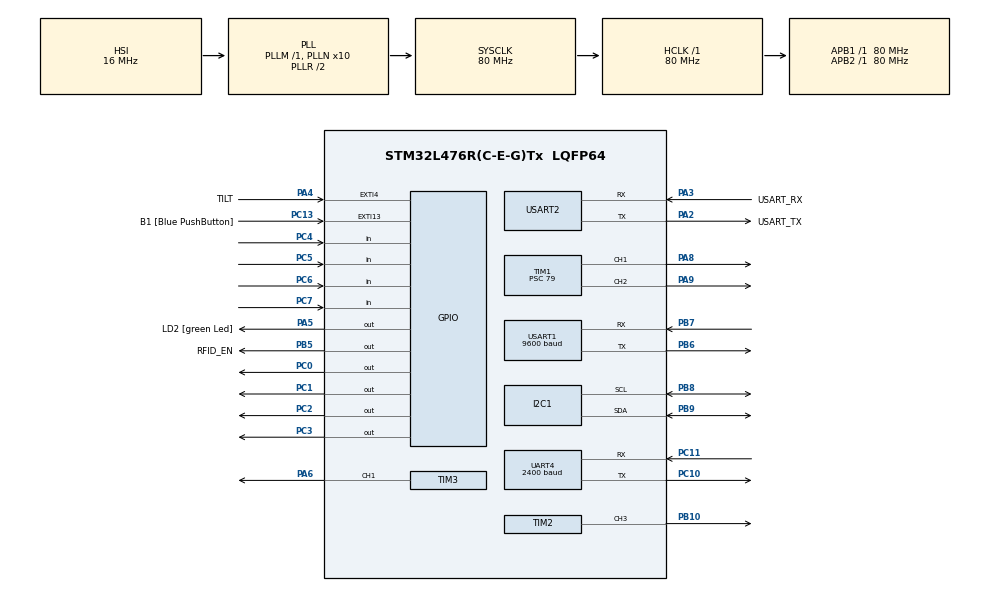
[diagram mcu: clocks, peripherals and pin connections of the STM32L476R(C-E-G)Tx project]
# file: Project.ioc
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FREERTOS.BinarySemaphores01=rfidSemaphore,Dynamic,NULL,Depleted
FREERTOS.Mutexes01=lcdMutex,Dynamic,NULL,Available
FREERTOS.Queues01=doorQueue,10,uint8_t,0,Dynamic,NULL,NULL;wifiQueue,10,uint8_t,0,Dynamic,NULL,NULL
FREERTOS.Tasks01=keypadTask,24,512,StartKeypadTask,Default,NULL,Dynamic,NULL,NULL;rfidTask,24,512,StartRfidTask,Default,NULL,Dynamic,NULL,NULL;doorTask,24,512,StartDoorTask,Default,NULL,Dynamic,NULL,NULL;wifiTask,24,512,StartWifiTask,Default,NULL,Dynamic,NULL,NULL
FREERTOS.configTOTAL_HEAP_SIZE=16000
I2C1.Timing=0x10D19CE4
Mcu.Family=STM32L4
Mcu.Name=STM32L476R(C-E-G)Tx
Mcu.Package=LQFP64
NVIC.EXTI4_IRQn=true\:5\:0\:false\:false\:true\:true\:true\:true\:true
NVIC.PriorityGroup=NVIC_PRIORITYGROUP_4
NVIC.TIM6_DAC_IRQn=true\:15\:0\:false\:false\:true\:false\:false\:true\:true
NVIC.TimeBase=TIM6_DAC_IRQn
NVIC.TimeBaseIP=TIM6
NVIC.UART4_IRQn=true\:5\:0\:false\:false\:true\:true\:true\:true\:true
PA13\ (JTMS-SWDIO).GPIO_Label=TMS
PA13\ (JTMS-SWDIO).Mode=Serial_Wire
PA13\ (JTMS-SWDIO).Signal=SYS_JTMS-SWDIO
PA14\ (JTCK-SWCLK).GPIO_Label=TCK
PA14\ (JTCK-SWCLK).Mode=Serial_Wire
PA14\ (JTCK-SWCLK).Signal=SYS_JTCK-SWCLK
PA2.GPIO_Label=USART_TX
PA2.GPIO_Mode=GPIO_MODE_AF_PP
PA2.GPIO_PuPd=GPIO_NOPULL
PA2.GPIO_Speed=GPIO_SPEED_FREQ_VERY_HIGH
PA2.Mode=Asynchronous
PA2.Signal=USART2_TX
PA3.GPIO_Label=USART_RX
PA3.GPIO_Mode=GPIO_MODE_AF_PP
PA3.GPIO_PuPd=GPIO_NOPULL
PA3.GPIO_Speed=GPIO_SPEED_FREQ_VERY_HIGH
PA3.Mode=Asynchronous
PA3.Signal=USART2_RX
PA4.GPIO_Label=TILT
PA4.GPIO_ModeDefaultEXTI=GPIO_MODE_IT_RISING_FALLING
PA4.GPIO_PuPd=GPIO_PULLUP
PA4.Signal=GPXTI4
PA5.GPIO_Label=LD2 [green Led]
PA5.GPIO_ModeDefaultOutputPP=GPIO_MODE_OUTPUT_PP
PA5.GPIO_PuPd=GPIO_NOPULL
PA5.GPIO_Speed=GPIO_SPEED_FREQ_LOW
PA5.Signal=GPIO_Output
PA6.Signal=S_TIM3_CH1
PA8.Signal=S_TIM1_CH1
PA9.Signal=S_TIM1_CH2
PB10.Signal=S_TIM2_CH3
PB3\ (JTDO-TRACESWO).GPIO_Label=SWO
PB3\ (JTDO-TRACESWO).Signal=SYS_JTDO-SWO
PB5.GPIO_Label=RFID_EN
PB5.Signal=GPIO_Output
PB6.Mode=Asynchronous
PB6.Signal=USART1_TX
PB7.Mode=Asynchronous
PB7.Signal=USART1_RX
PB8.GPIO_Pu=GPIO_PULLUP
PB8.Mode=I2C
PB8.Signal=I2C1_SCL
PB9.GPIO_Pu=GPIO_PULLUP
PB9.Mode=I2C
PB9.Signal=I2C1_SDA
PC0.Signal=GPIO_Output
PC1.Signal=GPIO_Output
PC10.Mode=Asynchronous
PC10.Signal=UART4_TX
PC11.Mode=Asynchronous
PC11.Signal=UART4_RX
PC13.GPIO_Label=B1 [Blue PushButton]
PC13.GPIO_ModeDefaultEXTI=GPIO_MODE_IT_FALLING
PC13.GPIO_PuPd=GPIO_NOPULL
PC13.Signal=GPXTI13
PC14-OSC32_IN\ (PC14).Mode=LSE-External-Oscillator
PC14-OSC32_IN\ (PC14).Signal=RCC_OSC32_IN
PC15-OSC32_OUT\ (PC15).Mode=LSE-External-Oscillator
PC15-OSC32_OUT\ (PC15).Signal=RCC_OSC32_OUT
PC2.Signal=GPIO_Output
PC3.Signal=GPIO_Output
PC4.GPIO_PuPd=GPIO_PULLDOWN
PC4.Signal=GPIO_Input
PC5.GPIO_PuPd=GPIO_PULLDOWN
PC5.Signal=GPIO_Input
PC6.GPIO_PuPd=GPIO_PULLDOWN
PC6.Signal=GPIO_Input
PC7.GPIO_PuPd=GPIO_PULLDOWN
PC7.Signal=GPIO_Input
PH0-OSC_IN\ (PH0).Signal=RCC_OSC_IN
PH1-OSC_OUT\ (PH1).Signal=RCC_OSC_OUT
ProjectManager.HeapSize=0x200
ProjectManager.StackSize=0x400
ProjectManager.TargetToolchain=STM32CubeIDE
RCC.ADCFreq_Value=64000000
RCC.AHBFreq_Value=80000000
RCC.APB1Freq_Value=80000000
RCC.APB1TimFreq_Value=80000000
RCC.APB2Freq_Value=80000000
RCC.APB2TimFreq_Value=80000000
RCC.CortexFreq_Value=80000000
RCC.HCLKFreq_Value=80000000
RCC.HSE_VALUE=8000000
RCC.HSI_VALUE=16000000
RCC.MSI_VALUE=4000000
RCC.PLLN=10
RCC.PLLSourceVirtual=RCC_PLLSOURCE_HSI
RCC.PREFETCH_ENABLE=1
RCC.SYSCLKFreq_VALUE=80000000
RCC.SYSCLKSource=RCC_SYSCLKSOURCE_PLLCLK
RCC.USBFreq_Value=64000000
RCC.VCOOutputFreq_Value=160000000
SH.S_TIM1_CH1.0=TIM1_CH1,PWM Generation1 CH1
SH.S_TIM1_CH2.0=TIM1_CH2,PWM Generation2 CH2
SH.S_TIM2_CH3.0=TIM2_CH3,PWM Generation3 CH3
SH.S_TIM3_CH1.0=TIM3_CH1,PWM Generation1 CH1
TIM1.Channel-PWM\ Generation1\ CH1=TIM_CHANNEL_1
TIM1.Channel-PWM\ Generation2\ CH2=TIM_CHANNEL_2
TIM1.Period=999
TIM1.Prescaler=79
TIM2.Channel-PWM\ Generation3\ CH3=TIM_CHANNEL_3
TIM2.Period=999
TIM2.Prescaler=79
TIM3.Channel-PWM\ Generation1\ CH1=TIM_CHANNEL_1
TIM3.Period=19999
TIM3.Prescaler=79
TIM3.Pulse-PWM\ Generation1\ CH1=1500
UART4.BaudRate=2400
UART4.VirtualMode-Asynchronous=VM_ASYNC
USART1.BaudRate=9600
USART1.VirtualMode-Asynchronous=VM_ASYNC
USART2.VirtualMode-Asynchronous=VM_ASYNC
VP_FREERTOS_VS_CMSIS_V2.Mode=CMSIS_V2
VP_SYS_VS_tim6.Mode=TIM6
board=NUCLEO-L476RG

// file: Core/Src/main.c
/* USER CODE BEGIN Header */
/**
  ******************************************************************************
  * @file           : main.c
  * @brief          : Main program body
  ******************************************************************************
  * @attention
  *
  * Copyright (c) 2026 STMicroelectronics.
  * All rights reserved.
  *
  * This software is licensed under terms that can be found in the LICENSE file
  * in the root directory of this software component.
  * If no LICENSE file comes with this software, it is provided AS-IS.
  *
  ******************************************************************************
  */
/* USER CODE END Header */
#include "main.h"
#include "cmsis_os.h"
#include "i2c.h"
#include "tim.h"
#include "usart.h"
#include "gpio.h"

void SystemClock_Config(void);
void MX_FREERTOS_Init(void);

int main(void)
{

  /* MCU Configuration--------------------------------------------------------*/

  /* Reset of all peripherals, Initializes the Flash interface and the Systick. */
  HAL_Init();

  /* Configure the system clock */
  SystemClock_Config();

  /* Initialize all configured peripherals */
  MX_GPIO_Init();
  MX_USART2_UART_Init();
  MX_I2C1_Init();
  MX_TIM1_Init();
  MX_TIM2_Init();
  MX_TIM3_Init();
  MX_USART1_UART_Init();
  MX_UART4_Init();

  /* Init scheduler */
  osKernelInitialize();  /* Call init function for freertos objects (in cmsis_os2.c) */
  MX_FREERTOS_Init();

  /* Start scheduler */
  osKernelStart();

  /* We should never get here as control is now taken by the scheduler */

  /* Infinite loop */
  while (1)
  {

  }
}

void SystemClock_Config(void)
{
  RCC_OscInitTypeDef RCC_OscInitStruct = {0};
  RCC_ClkInitTypeDef RCC_ClkInitStruct = {0};

  /** Configure the main internal regulator output voltage
  */
  if (HAL_PWREx_ControlVoltageScaling(PWR_REGULATOR_VOLTAGE_SCALE1) != HAL_OK)
  {
    Error_Handler();
  }

  /** Initializes the RCC Oscillators according to the specified parameters
  * in the RCC_OscInitTypeDef structure.
  */
  RCC_OscInitStruct.OscillatorType = RCC_OSCILLATORTYPE_HSI;
  RCC_OscInitStruct.HSIState = RCC_HSI_ON;
  RCC_OscInitStruct.HSICalibrationValue = RCC_HSICALIBRATION_DEFAULT;
  RCC_OscInitStruct.PLL.PLLState = RCC_PLL_ON;
  RCC_OscInitStruct.PLL.PLLSource = RCC_PLLSOURCE_HSI;
  RCC_OscInitStruct.PLL.PLLM = 1;
  RCC_OscInitStruct.PLL.PLLN = 10;
  RCC_OscInitStruct.PLL.PLLP = RCC_PLLP_DIV7;
  RCC_OscInitStruct.PLL.PLLQ = RCC_PLLQ_DIV2;
  RCC_OscInitStruct.PLL.PLLR = RCC_PLLR_DIV2;
  if (HAL_RCC_OscConfig(&RCC_OscInitStruct) != HAL_OK)
  {
    Error_Handler();
  }

  /** Initializes the CPU, AHB and APB buses clocks
  */
  RCC_ClkInitStruct.ClockType = RCC_CLOCKTYPE_HCLK|RCC_CLOCKTYPE_SYSCLK
                              |RCC_CLOCKTYPE_PCLK1|RCC_CLOCKTYPE_PCLK2;
  RCC_ClkInitStruct.SYSCLKSource = RCC_SYSCLKSOURCE_PLLCLK;
  RCC_ClkInitStruct.AHBCLKDivider = RCC_SYSCLK_DIV1;
  RCC_ClkInitStruct.APB1CLKDivider = RCC_HCLK_DIV1;
  RCC_ClkInitStruct.APB2CLKDivider = RCC_HCLK_DIV1;

  if (HAL_RCC_ClockConfig(&RCC_ClkInitStruct, FLASH_LATENCY_4) != HAL_OK)
  {
    Error_Handler();
  }
}

void HAL_TIM_PeriodElapsedCallback(TIM_HandleTypeDef *htim)
{
  if (htim->Instance == TIM6)
  {
    HAL_IncTick();
  }
}

void Error_Handler(void)
{
  __disable_irq();
  while (1)
  {
  }
}

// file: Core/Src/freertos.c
/* USER CODE BEGIN Header */
/**
  ******************************************************************************
  * File Name          : freertos.c
  * Description        : Code for freertos applications
  ******************************************************************************
  * @attention
  *
  * Copyright (c) 2026 STMicroelectronics.
  * All rights reserved.
  *
  * This software is licensed under terms that can be found in the LICENSE file
  * in the root directory of this software component.
  * If no LICENSE file comes with this software, it is provided AS-IS.
  *
  ******************************************************************************
  */
/* USER CODE END Header */

#include "FreeRTOS.h"
#include "task.h"
#include "main.h"
#include "cmsis_os.h"

/* USER CODE BEGIN Includes */
#include <stdio.h>
#include <string.h>
#include "tim.h"
#include "usart.h"
#include "gpio.h"
#include "keypad.h"     // Lab 3 keypad library
#include "lcd_i2c.h"    // Lab 3 LCD library
/* USER CODE END Includes */

/* USER CODE BEGIN PD */
/* ---------- Settings we can change ---------- */
#define CORRECT_PIN    "0000"          // 4-digit PIN that opens the door
#define ALLOWED_CARD   "2600D3A790"    // ID of our RFID card (the other card, 290093F110, is the "wrong card")

#define SERVO_CLOSED   1000            // servo pulse (microseconds) when the door is locked
#define SERVO_OPEN     2000            // servo pulse (microseconds) when the door is open
#define DOOR_OPEN_MS   5000            // the door stays open for 5 seconds
#define TILT_WAIT_MS   3000            // ignore the tilt switch for 3 seconds after an alert

/* ---------- Events sent through the queues ---------- */
#define EVT_PIN_OK     1               // correct PIN typed
#define EVT_PIN_FAIL   2               // wrong PIN typed
#define EVT_CARD_OK    3               // allowed card tapped
#define EVT_CARD_FAIL  4               // unknown card tapped
#define EVT_TAMPER     5               // door moved while it was locked
#define EVT_LOCKED     6               // door locked again (Wi-Fi message only)
/* USER CODE END PD */

/* USER CODE BEGIN Variables */
/* PIN typed on the keypad (Lab 3) */
char attempt[5];                       // 4 digits + '\0'
uint8_t pin_index = 0;                 // number of digits typed so far

/* RFID reader: it sends 0x0A, then 10 ID characters, then 0x0D */
uint8_t rfid_byte;                     // last byte received from the reader
char rfid_id[11];                      // card ID (10 characters + '\0')
uint8_t rfid_index = 0;                // number of ID characters received so far

/* Tilt (ball) switch */
volatile uint8_t door_open = 0;        // 1 while the door is open (tilt is not a tamper then)
volatile uint32_t last_tilt = 0;       // time of the last tamper alert
/* USER CODE END Variables */
/* Definitions for keypadTask */
osThreadId_t keypadTaskHandle;
const osThreadAttr_t keypadTask_attributes = {
  .name = "keypadTask",
  .stack_size = 512 * 4,
  .priority = (osPriority_t) osPriorityNormal,
};
/* Definitions for rfidTask */
osThreadId_t rfidTaskHandle;
const osThreadAttr_t rfidTask_attributes = {
  .name = "rfidTask",
  .stack_size = 512 * 4,
  .priority = (osPriority_t) osPriorityNormal,
};
/* Definitions for doorTask */
osThreadId_t doorTaskHandle;
const osThreadAttr_t doorTask_attributes = {
  .name = "doorTask",
  .stack_size = 512 * 4,
  .priority = (osPriority_t) osPriorityNormal,
};
/* Definitions for wifiTask */
osThreadId_t wifiTaskHandle;
const osThreadAttr_t wifiTask_attributes = {
  .name = "wifiTask",
  .stack_size = 512 * 4,
  .priority = (osPriority_t) osPriorityNormal,
};
/* Definitions for doorQueue */
osMessageQueueId_t doorQueueHandle;
const osMessageQueueAttr_t doorQueue_attributes = {
  .name = "doorQueue"
};
/* Definitions for wifiQueue */
osMessageQueueId_t wifiQueueHandle;
const osMessageQueueAttr_t wifiQueue_attributes = {
  .name = "wifiQueue"
};
/* Definitions for lcdMutex */
osMutexId_t lcdMutexHandle;
const osMutexAttr_t lcdMutex_attributes = {
  .name = "lcdMutex"
};
/* Definitions for rfidSemaphore */
osSemaphoreId_t rfidSemaphoreHandle;
const osSemaphoreAttr_t rfidSemaphore_attributes = {
  .name = "rfidSemaphore"
};

/* USER CODE BEGIN FunctionPrototypes */
void play_tone(uint32_t freq, uint32_t duration_ms);
void SetColor(uint8_t red, uint8_t green);
void Servo_WritePulseUS(uint16_t pulse_us);
void LCD_ShowMessage(char *line1, char *line2);
/* USER CODE END FunctionPrototypes */

void StartKeypadTask(void *argument);
void StartRfidTask(void *argument);
void StartDoorTask(void *argument);
void StartWifiTask(void *argument);

void MX_FREERTOS_Init(void); /* (MISRA C 2004 rule 8.1) */

void MX_FREERTOS_Init(void) {
  /* USER CODE BEGIN Init */
  /* This runs once, before the tasks start */

  /* Start the PWM outputs (Lab 4 and Lab 7) */
  HAL_TIM_PWM_Start(&htim1, TIM_CHANNEL_1);   // RGB LED red   (PA8)
  HAL_TIM_PWM_Start(&htim1, TIM_CHANNEL_2);   // RGB LED green (PA9)
  HAL_TIM_PWM_Start(&htim2, TIM_CHANNEL_3);   // passive buzzer (PB10), silent for now
  HAL_TIM_PWM_Start(&htim3, TIM_CHANNEL_1);   // servo (PA6)

  SetColor(0, 0);                             // LED off
  Servo_WritePulseUS(SERVO_CLOSED);           // door starts locked

  /* LCD and keypad (Lab 3) */
  LCD_Init();
  LCD_ShowMessage("ENTER PIN / CARD", "");
  Keypad_Init();
  /* USER CODE END Init */
  /* Create the mutex(es) */
  /* creation of lcdMutex */
  lcdMutexHandle = osMutexNew(&lcdMutex_attributes);

  /* Create the semaphores(s) */
  /* creation of rfidSemaphore */
  rfidSemaphoreHandle = osSemaphoreNew(1, 0, &rfidSemaphore_attributes);

  /* Create the queue(s) */
  /* creation of doorQueue */
  doorQueueHandle = osMessageQueueNew (10, sizeof(uint8_t), &doorQueue_attributes);

  /* creation of wifiQueue */
  wifiQueueHandle = osMessageQueueNew (10, sizeof(uint8_t), &wifiQueue_attributes);

  /* Create the thread(s) */
  /* creation of keypadTask */
  keypadTaskHandle = osThreadNew(StartKeypadTask, NULL, &keypadTask_attributes);

  /* creation of rfidTask */
  rfidTaskHandle = osThreadNew(StartRfidTask, NULL, &rfidTask_attributes);

  /* creation of doorTask */
  doorTaskHandle = osThreadNew(StartDoorTask, NULL, &doorTask_attributes);

  /* creation of wifiTask */
  wifiTaskHandle = osThreadNew(StartWifiTask, NULL, &wifiTask_attributes);

}

void StartKeypadTask(void *argument)
{
  /* USER CODE BEGIN StartKeypadTask */
  /* keypadTask: reads the keypad and checks the PIN */
  char key;
  uint8_t event;

  for(;;)
  {
    key = Keypad_Scan();                      // Lab 3: returns the key, or 0 if no key

    if (key)
    {
      /* TEST: print every key to Tera Term (Lab 3 Part B echo test).
         Delete these 3 lines when all keys work. */
      char out[16];
      sprintf(out, "Key: %c\r\n", key);
      HAL_UART_Transmit(&huart2, (uint8_t *)out, strlen(out), 100);

      /* wait here if the door task is using the LCD (Lab 7 mutex) */
      osMutexAcquire(lcdMutexHandle, osWaitForever);

      if (key >= '0' && key <= '9')           // a digit was pressed
      {
        attempt[pin_index] = key;             // store the digit
        LCD_SetCursor(1, pin_index);
        LCD_PrintChar('*');                   // show * instead of the digit
        pin_index++;

        if (pin_index == 4)                   // 4 digits typed: check the PIN
        {
          attempt[4] = '\0';

          if (strcmp(attempt, CORRECT_PIN) == 0)
          {
            event = EVT_PIN_OK;
          }
          else
          {
            event = EVT_PIN_FAIL;
          }

          pin_index = 0;
          osMessageQueuePut(doorQueueHandle, &event, 0, 0);   // tell the door task
        }
      }
      else if (key == '#')                    // # clears the typed digits
      {
        pin_index = 0;
        LCD_SetCursor(1, 0);
        LCD_Print("    ");
      }

      osMutexRelease(lcdMutexHandle);
    }

    osDelay(20);                              // check the keypad every 20 ms
  }
  /* USER CODE END StartKeypadTask */
}

void StartRfidTask(void *argument)
{
  /* USER CODE BEGIN StartRfidTask */
  /* rfidTask: checks the card after the UART interrupt received a full ID */
  uint8_t event;

  HAL_GPIO_WritePin(RFID_EN_GPIO_Port, RFID_EN_Pin, GPIO_PIN_RESET);   // EN low = reader on
  HAL_UART_Receive_IT(&huart4, &rfid_byte, 1);                         // start receiving bytes

  for(;;)
  {
    /* sleep here until the interrupt releases the semaphore (Lab 7) */
    if (osSemaphoreAcquire(rfidSemaphoreHandle, osWaitForever) == osOK)
    {
      /* reader off, so the same card is not read again and again */
      HAL_GPIO_WritePin(RFID_EN_GPIO_Port, RFID_EN_Pin, GPIO_PIN_SET);

      if (strcmp(rfid_id, ALLOWED_CARD) == 0)
      {
        event = EVT_CARD_OK;
      }
      else
      {
        event = EVT_CARD_FAIL;
      }

      osMessageQueuePut(doorQueueHandle, &event, 0, 0);   // tell the door task

      osDelay(3000);                                      // wait before reading the next card
      osSemaphoreAcquire(rfidSemaphoreHandle, 0);         // forget a repeated read of the same card
      HAL_GPIO_WritePin(RFID_EN_GPIO_Port, RFID_EN_Pin, GPIO_PIN_RESET);   // reader on again
    }
  }
  /* USER CODE END StartRfidTask */
}

void StartDoorTask(void *argument)
{
  /* USER CODE BEGIN StartDoorTask */
  /* doorTask: controls the LCD, LED, buzzer and servo */
  uint8_t event;
  uint8_t locked = EVT_LOCKED;

  for(;;)
  {
    /* wait here until the keypad task, the RFID task or the tilt interrupt sends an event */
    if (osMessageQueueGet(doorQueueHandle, &event, NULL, osWaitForever) == osOK)
    {
      /* keep the LCD until this event is finished (Lab 7 mutex) */
      osMutexAcquire(lcdMutexHandle, osWaitForever);

      osMessageQueuePut(wifiQueueHandle, &event, 0, 0);   // report the event over Wi-Fi

      if (event == EVT_PIN_OK || event == EVT_CARD_OK)
      {
        /* ----- correct PIN or card: open the door for 5 seconds ----- */
        door_open = 1;
        LCD_ShowMessage("ACCESS GRANTED", "DOOR OPEN");
        SetColor(0, 255);                     // green
        Servo_WritePulseUS(SERVO_OPEN);       // unlock

        play_tone(523, 150);                  // success sound (notes going up)
        play_tone(659, 150);
        play_tone(784, 300);

        osDelay(DOOR_OPEN_MS);                // hold the door open

        Servo_WritePulseUS(SERVO_CLOSED);     // lock again
        SetColor(0, 0);                       // LED off
        LCD_ShowMessage("DOOR LOCKED", "");
        osMessageQueuePut(wifiQueueHandle, &locked, 0, 0);
        osDelay(1000);

        last_tilt = HAL_GetTick();            // give the door time to stop moving
        door_open = 0;
      }
      else if (event == EVT_PIN_FAIL || event == EVT_CARD_FAIL)
      {
        /* ----- wrong PIN or card: the servo does not move ----- */
        LCD_ShowMessage("ACCESS DENIED", "TRY AGAIN");
        SetColor(255, 0);                     // red

        play_tone(300, 250);                  // fail sound (notes going down)
        play_tone(200, 500);

        osDelay(1000);
        SetColor(0, 0);
      }
      else if (event == EVT_TAMPER)
      {
        /* ----- door moved while locked: alarm, the servo does not move ----- */
        LCD_ShowMessage("TAMPER ALERT!", "DOOR IS LOCKED");
        SetColor(255, 0);                     // red

        for (int i = 0; i < 5; i++)           // alarm sound
        {
          play_tone(1000, 200);
          play_tone(700, 200);
        }

        SetColor(0, 0);
      }

      /* back to the start screen */
      pin_index = 0;
      LCD_ShowMessage("ENTER PIN / CARD", "");

      osMutexRelease(lcdMutexHandle);
    }
  }
  /* USER CODE END StartDoorTask */
}

void StartWifiTask(void *argument)
{
  /* USER CODE BEGIN StartWifiTask */
  /* wifiTask: sends one text line per event to the NodeMCU (Lab 8) */
  uint8_t event;
  char msg[50];

  strcpy(msg, "LOCKER READY\r\n");
  HAL_UART_Transmit(&huart1, (uint8_t *)msg, strlen(msg), 200);
  HAL_UART_Transmit(&huart2, (uint8_t *)msg, strlen(msg), 200);

  for(;;)
  {
    /* wait here until the door task sends an event */
    if (osMessageQueueGet(wifiQueueHandle, &event, NULL, osWaitForever) == osOK)
    {
      if (event == EVT_PIN_OK)
      {
        strcpy(msg, "ACCESS GRANTED (PIN)\r\n");
      }
      else if (event == EVT_PIN_FAIL)
      {
        strcpy(msg, "ACCESS DENIED (WRONG PIN)\r\n");
      }
      else if (event == EVT_CARD_OK)
      {
        snprintf(msg, sizeof(msg), "ACCESS GRANTED (CARD %s)\r\n", rfid_id);
      }
      else if (event == EVT_CARD_FAIL)
      {
        snprintf(msg, sizeof(msg), "ACCESS DENIED (CARD %s)\r\n", rfid_id);
      }
      else if (event == EVT_TAMPER)
      {
        strcpy(msg, "TAMPER ALERT: DOOR MOVED\r\n");
      }
      else
      {
        strcpy(msg, "DOOR LOCKED\r\n");
      }

      HAL_UART_Transmit(&huart1, (uint8_t *)msg, strlen(msg), 200);   // USART1 -> NodeMCU -> Wi-Fi
      HAL_UART_Transmit(&huart2, (uint8_t *)msg, strlen(msg), 200);   // USART2 -> Tera Term
    }
  }
  /* USER CODE END StartWifiTask */
}

/* USER CODE BEGIN Application */

/* Lab 4: play one tone on the passive buzzer (TIM2 channel 3, PB10) */
void play_tone(uint32_t freq, uint32_t duration_ms)
{
  uint32_t timer_clk = 1000000;               // 1 MHz based on 79 prescaler
  uint32_t period = timer_clk / freq;

  __HAL_TIM_SET_AUTORELOAD(&htim2, period - 1);
  __HAL_TIM_SET_COUNTER(&htim2, 0);           // restart the count so it is never above the new period
  __HAL_TIM_SET_COMPARE(&htim2, TIM_CHANNEL_3, period / 4);   // 25% duty cycle
  osDelay(duration_ms);

  // Silence between notes
  __HAL_TIM_SET_COMPARE(&htim2, TIM_CHANNEL_3, 0);
  osDelay(30);
}

/* Lab 4: set the RGB LED color, 0-255 for each (TIM1 channels 1 and 2) */
void SetColor(uint8_t red, uint8_t green)
{
  uint32_t arr = __HAL_TIM_GET_AUTORELOAD(&htim1);

  __HAL_TIM_SET_COMPARE(&htim1, TIM_CHANNEL_1, (red   * arr) / 255);
  __HAL_TIM_SET_COMPARE(&htim1, TIM_CHANNEL_2, (green * arr) / 255);
}

/* Lab 7: move the servo (TIM3 channel 1, PA6) */
void Servo_WritePulseUS(uint16_t pulse_us)
{
  // Limit pulse width to 1000-2000 microseconds
  if (pulse_us < 1000) pulse_us = 1000;
  if (pulse_us > 2000) pulse_us = 2000;

  __HAL_TIM_SET_COMPARE(&htim3, TIM_CHANNEL_1, pulse_us);
}

/* Show two lines of text on the LCD */
void LCD_ShowMessage(char *line1, char *line2)
{
  LCD_Clear();
  LCD_SetCursor(0, 0);
  LCD_Print(line1);
  LCD_SetCursor(1, 0);
  LCD_Print(line2);
}

/* Lab 5: interrupt from the tilt (ball) switch on PA4 */
void HAL_GPIO_EXTI_Callback(uint16_t GPIO_Pin)
{
  if (GPIO_Pin == TILT_Pin)
  {
    uint32_t now = HAL_GetTick();

    /* ignore the switch while the door is open, and for 3 seconds after
       an alert because the ball bounces many times */
    if (door_open == 0 && (now - last_tilt) > TILT_WAIT_MS)
    {
      uint8_t event = EVT_TAMPER;

      last_tilt = now;
      osMessageQueuePut(doorQueueHandle, &event, 0, 0);   // tell the door task
    }
  }
}

/* Interrupt: one byte arrived from the RFID reader (UART4, PC11) */
void HAL_UART_RxCpltCallback(UART_HandleTypeDef *huart)
{
  if (huart->Instance == UART4)
  {
    if (rfid_byte == 0x0A)                    // start byte: a new ID begins
    {
      rfid_index = 0;
    }
    else if (rfid_byte == 0x0D)               // stop byte: the ID is finished
    {
      if (rfid_index == 10)
      {
        rfid_id[10] = '\0';
        osSemaphoreRelease(rfidSemaphoreHandle);   // wake up rfidTask
      }
      rfid_index = 0;
    }
    else if (rfid_index < 10)                 // one of the 10 ID characters
    {
      rfid_id[rfid_index] = rfid_byte;
      rfid_index++;
    }

    HAL_UART_Receive_IT(&huart4, &rfid_byte, 1);   // wait for the next byte
  }
}

/* If the RFID line had noise, start receiving again */
void HAL_UART_ErrorCallback(UART_HandleTypeDef *huart)
{
  if (huart->Instance == UART4)
  {
    HAL_UART_Receive_IT(&huart4, &rfid_byte, 1);
  }
}
/* USER CODE END Application */
